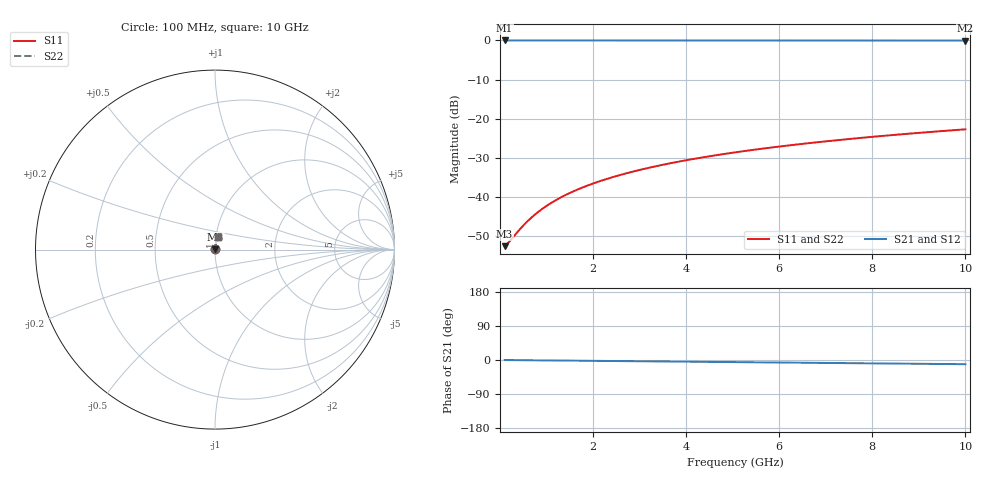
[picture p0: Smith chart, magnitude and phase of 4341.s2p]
# Hz S RI R 50.00
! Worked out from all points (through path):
!   100 points, 100 MHz to 10 GHz, reference 50 ohm
!   highest |S21| = -0.02 dB at 100 MHz (marker M1); lowest = 0.0 dB at 10 GHz (marker M2)
!   group delay of S21, straight-line fit = 3.08 ps
!   lowest |S11| = -52.5 dB at 100 MHz (marker M3), VSWR 1.00, Z = 50.2 + j0.0737 ohm
!   |S11| at or under -10 dB: start of sweep to end of sweep
!   |S22| runs from -52.5 to -22.7 dB; largest |S21 - S12| = 0
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1e8  0.00226 0.000734  0.9977 -0.00193  0.9977 -0.00193  0.00226 0.000734
2e8  0.00228 0.00147  0.9977 -0.00386  0.9977 -0.00386  0.00228 0.00147
4e8  0.00231 0.00293  0.9977 -0.00772  0.9977 -0.00772  0.00231 0.00293
5e8  0.00233 0.00367  0.9976 -0.00965  0.9976 -0.00965  0.00233 0.00367
6e8  0.00235 0.0044  0.9976 -0.0116  0.9976 -0.0116  0.00235 0.0044
7e8  0.00238 0.00513  0.9976 -0.0135  0.9976 -0.0135  0.00238 0.00513
9e8  0.00243 0.0066  0.9975 -0.0174  0.9975 -0.0174  0.00243 0.0066
1.1e9  0.0025 0.00807  0.9974 -0.0212  0.9974 -0.0212  0.0025 0.00807
1.3e9  0.00257 0.00953  0.9973 -0.0251  0.9973 -0.0251  0.00257 0.00953
1.5e9  0.00266 0.011  0.9972 -0.029  0.9972 -0.029  0.00266 0.011
1.8e9  0.00281 0.0132  0.9969 -0.0347  0.9969 -0.0347  0.00281 0.0132
2.1e9  0.00298 0.0154  0.9967 -0.0405  0.9967 -0.0405  0.00298 0.0154
2.5e9  0.00326 0.0183  0.9963 -0.0482  0.9963 -0.0482  0.00326 0.0183
2.9e9  0.00357 0.0212  0.9958 -0.056  0.9958 -0.056  0.00357 0.0212
3.4e9  0.00403 0.0249  0.9951 -0.0656  0.9951 -0.0656  0.00403 0.0249
4.2e9  0.00491 0.0307  0.9938 -0.081  0.9938 -0.081  0.00491 0.0307
5.1e9  0.00611 0.0371  0.992 -0.0983  0.992 -0.0983  0.00611 0.0371
5.9e9  0.00736 0.0429  0.9901 -0.1136  0.9901 -0.1136  0.00736 0.0429
6.7e9  0.00879 0.0486  0.9879 -0.1289  0.9879 -0.1289  0.00879 0.0486
7.5e9  0.0104 0.0542  0.9854 -0.1442  0.9854 -0.1442  0.0104 0.0542
8.4e9  0.0124 0.0605  0.9824 -0.1613  0.9824 -0.1613  0.0124 0.0605
1e10  0.0166 0.0715  0.9761 -0.1916  0.9761 -0.1916  0.0166 0.0715
